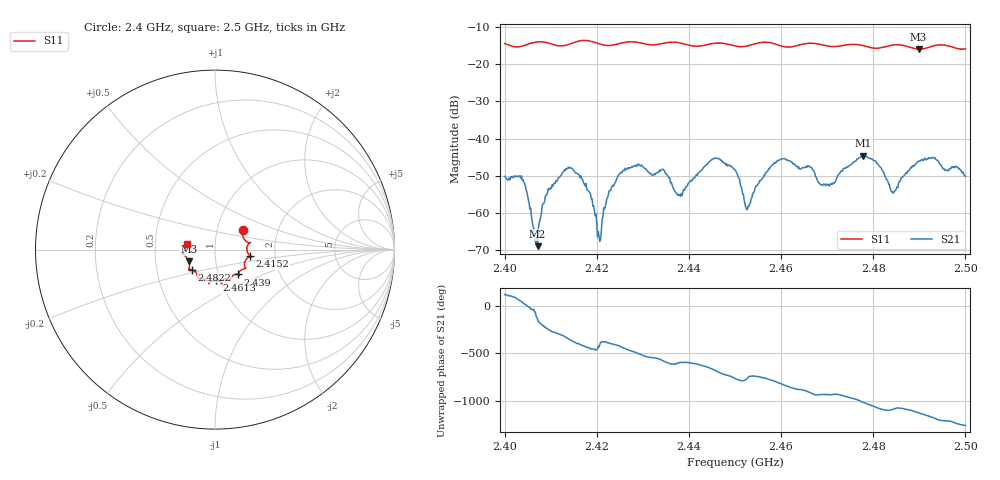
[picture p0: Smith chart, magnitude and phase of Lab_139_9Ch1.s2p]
# Hz S RI R 50
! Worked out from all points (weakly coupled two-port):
!   601 points, 2.4 GHz to 2.5 GHz, reference 50 ohm
!   highest |S21| = -44.64 dB at 2.4778 GHz (marker M1); lowest = -69.0 dB at 2.4072 GHz (marker M2)
!   lowest |S11| = -15.9 dB at 2.4898 GHz (marker M3), VSWR 1.38, Z = 37 - j5.02 ohm
!   |S11| at or under -10 dB: start of sweep to end of sweep
!   S12 and S22 are empty: the file has one direction only
!   S11 on the Smith chart (normalised r, x): 2.4 GHz: 1.33, +0.31; 2.4152 GHz: 1.48, -0.11; 2.439 GHz: 1.24, -0.35; 2.4613 GHz: 0.96, -0.34; 2.4822 GHz: 0.76, -0.17; 2.5 GHz: 0.73, +0.05
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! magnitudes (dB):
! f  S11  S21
! 2.4 GHz  -14.4  -50.2
! 2.4038 GHz  -15.1  -51.2
! 2.4072 GHz  -13.9  -69.0
! 2.4093 GHz  -14.2  -54.3
! 2.4152 GHz  -14.1  -48.8
! 2.4167 GHz  -13.6  -50.6
! 2.4205 GHz  -14.4  -66.5
! 2.4252 GHz  -14.3  -49.3
! 2.4333 GHz  -14.6  -49.1
! 2.439 GHz  -14.5  -53.9
! 2.4453 GHz  -14.4  -45.4
! 2.45 GHz  -15.0  -48.3
! 2.4528 GHz  -15.0  -58.2
! 2.4577 GHz  -14.2  -47.6
! 2.4613 GHz  -15.3  -45.9
! 2.4667 GHz  -14.3  -47.9
! 2.4707 GHz  -15.2  -52.3
! 2.4778 GHz  -14.9  -44.6
! 2.4822 GHz  -15.4  -49.0
! 2.4833 GHz  -15.0  -52.3
! 2.4898 GHz  -15.9  -46.0
! 2.5 GHz  -15.8  -50.2
